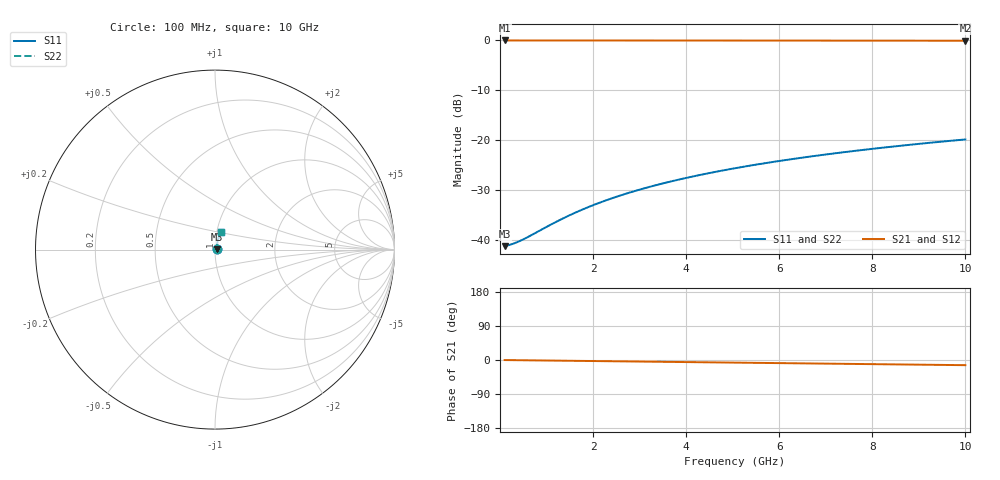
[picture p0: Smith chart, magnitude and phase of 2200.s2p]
# Hz S RI R 50.00
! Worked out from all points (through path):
!   100 points, 100 MHz to 10 GHz, reference 50 ohm
!   highest |S21| = -0.08 dB at 100 MHz (marker M1); lowest = -0.1 dB at 10 GHz (marker M2)
!   group delay of S21, straight-line fit = 3.79 ps
!   lowest |S11| = -41.1 dB at 100 MHz (marker M3), VSWR 1.02, Z = 50.9 + j0.103 ohm
!   |S11| at or under -10 dB: start of sweep to end of sweep
!   |S22| runs from -41.1 to -19.8 dB; largest |S21 - S12| = 1e-12
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1e8  0.00871 0.00101  0.9913 -0.00237  0.9913 -0.00237  0.00871 0.00101
2e8  0.00877 0.00202  0.9912 -0.00474  0.9912 -0.00474  0.00877 0.00202
3e8  0.00883 0.00302  0.9912 -0.00711  0.9912 -0.00711  0.00883 0.00302
5e8  0.00893 0.00504  0.991 -0.0118  0.991 -0.0118  0.00893 0.00504
1.1e9  0.00928 0.0111  0.9906 -0.026  0.9906 -0.026  0.00928 0.0111
1.3e9  0.00943 0.0131  0.9904 -0.0308  0.9904 -0.0308  0.00943 0.0131
1.5e9  0.00959 0.0151  0.9902 -0.0355  0.9902 -0.0355  0.00959 0.0151
1.8e9  0.00986 0.0181  0.9898 -0.0426  0.9898 -0.0426  0.00986 0.0181
2.1e9  0.0102 0.0211  0.9894 -0.0497  0.9894 -0.0497  0.0102 0.0211
2.5e9  0.0107 0.0251  0.9887 -0.0591  0.9887 -0.0591  0.0107 0.0251
2.9e9  0.0112 0.0291  0.988 -0.0686  0.988 -0.0686  0.0112 0.0291
3.4e9  0.012 0.034  0.9869 -0.0803  0.9869 -0.0803  0.012 0.034
3.8e9  0.0127 0.038  0.9859 -0.0897  0.9859 -0.0897  0.0127 0.038
4.2e9  0.0135 0.0419  0.9848 -0.0991  0.9848 -0.0991  0.0135 0.0419
4.6e9  0.0144 0.0459  0.9836 -0.1085  0.9836 -0.1085  0.0144 0.0459
5.1e9  0.0156 0.0507  0.9819 -0.1202  0.9819 -0.1202  0.0156 0.0507
5.9e9  0.0177 0.0585  0.9789 -0.1388  0.9789 -0.1388  0.0177 0.0585
6.7e9  0.0202 0.0661  0.9756 -0.1573  0.9756 -0.1573  0.0202 0.0661
7.5e9  0.0229 0.0736  0.9718 -0.1757  0.9718 -0.1757  0.0229 0.0736
8.4e9  0.0263 0.082  0.967 -0.1963  0.967 -0.1963  0.0263 0.082
9.2e9  0.0296 0.0892  0.9624 -0.2145  0.9624 -0.2145  0.0296 0.0892
1e10  0.0332 0.0963  0.9573 -0.2325  0.9573 -0.2325  0.0332 0.0963
